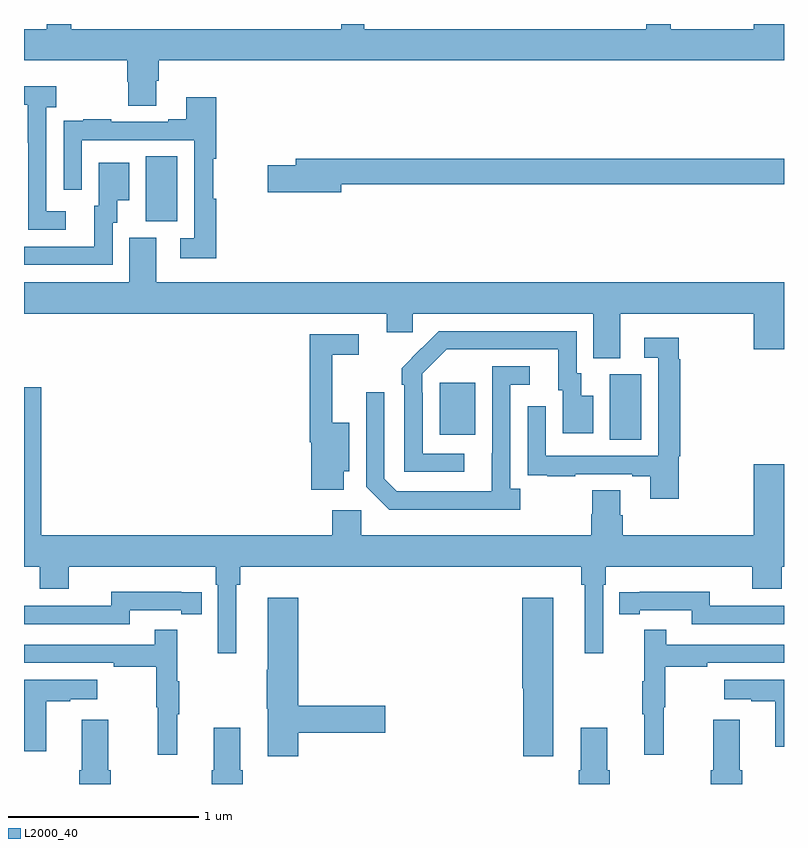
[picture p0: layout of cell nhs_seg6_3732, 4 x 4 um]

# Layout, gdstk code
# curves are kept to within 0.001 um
import gdstk
lib = gdstk.Library(unit=1e-6, precision=1e-09)
def R(c, l, rs):  # rectangles x0, y0, x1, y1
    for r in rs: c.add(gdstk.rectangle(r[:2], r[2:], *l))
def P(c, l, *ps):  # polygons
    for p in ps: c.add(gdstk.Polygon(p, *l))
L2000_40 = (2000, 40)

nhs_seg6_3732 = lib.new_cell('nhs_seg6_3732')
R(nhs_seg6_3732, L2000_40, [(332.084,973.312,332.248,973.656), (331.187,973.337,331.375,973.612), (329.642,974.461,329.806,974.804)])
P(nhs_seg6_3732, L2000_40, [(333,975.5),(332.84,975.5),(332.84,975.472),(332.404,975.472),(332.404,975.5),(332.275,975.5),(332.275,975.472),(330.79,975.472),(330.79,975.5),(330.669,975.5),(330.669,975.472),(329.249,975.472),(329.249,975.5),(329.12,975.5),(329.12,975.472),(329,975.472),(329,975.308),(329.543,975.308),(329.543,975.195),(329.548,975.195),(329.548,975.07),(329.695,975.07),(329.695,975.202),(329.708,975.202),(329.708,975.308),(333,975.308)],
  [(329.221,974.514),(329.118,974.514),(329.118,975.062),(329.17,975.062),(329.17,975.172),(329,975.172),(329,975.075),(329.021,975.075),(329.021,974.875),(329.022,974.875),(329.022,974.418),(329.221,974.418)],
  [(330.011,974.58),(329.996,974.58),(329.996,974.792),(330.011,974.792),(330.011,975.115),(329.855,975.115),(329.855,974.998),(329.759,974.998),(329.759,974.985),(329.459,974.985),(329.459,974.998),(329.311,974.998),(329.311,974.991),(329.209,974.991),(329.209,974.882),(329.208,974.882),(329.208,974.628),(329.304,974.628),(329.304,974.889),(329.895,974.889),(329.895,974.373),(329.823,974.373),(329.823,974.268),(330.011,974.268)],
  [(330.67,974.656),(333,974.656),(333,974.792),(330.431,974.792),(330.431,974.756),(330.282,974.756),(330.282,974.614),(330.67,974.614)],
  [(329.466,974.454),(329.491,974.454),(329.491,974.573),(329.554,974.573),(329.554,974.77),(329.393,974.77),(329.393,974.544),(329.369,974.544),(329.369,974.328),(329,974.328),(329,974.232),(329.466,974.232)],
  [(332.137,973.976),(332.84,973.976),(332.84,973.788),(333,973.788),(333,974.14),(329.695,974.14),(329.695,974.376),(329.555,974.376),(329.555,974.14),(329,974.14),(329,973.976),(330.908,973.976),(330.908,973.878),(331.047,973.878),(331.047,973.976),(331.997,973.976),(331.997,973.741),(332.137,973.741)],
  [(331.318,973.239),(331.098,973.239),(331.098,973.559),(331.095,973.559),(331.095,973.659),(331.224,973.788),(331.811,973.788),(331.811,973.572),(331.835,973.572),(331.835,973.347),(331.996,973.347),(331.996,973.543),(331.933,973.543),(331.933,973.662),(331.908,973.662),(331.908,973.884),(331.184,973.884),(330.987,973.689),(330.987,973.601),(331.002,973.601),(331.002,973.143),(331.318,973.143)],
  [(330.682,973.145),(330.712,973.145),(330.712,973.402),(330.623,973.402),(330.623,973.758),(330.763,973.758),(330.763,973.866),(330.505,973.866),(330.505,973.298),(330.512,973.298),(330.512,973.05),(330.682,973.05)],
  [(332.446,973.224),(332.453,973.224),(332.453,973.736),(332.446,973.736),(332.446,973.849),(332.265,973.849),(332.265,973.743),(332.337,973.743),(332.337,973.227),(331.746,973.227),(331.746,973.489),(331.65,973.489),(331.65,973.234),(331.651,973.234),(331.651,973.125),(331.753,973.125),(331.753,973.119),(331.901,973.119),(331.901,973.131),(332.201,973.131),(332.201,973.119),(332.297,973.119),(332.297,973.002),(332.446,973.002)],
  [(331.612,973.054),(331.56,973.054),(331.56,973.602),(331.663,973.602),(331.663,973.698),(331.464,973.698),(331.463,973.041),(330.963,973.041),(330.897,973.107),(330.897,973.561),(330.801,973.561),(330.801,973.065),(330.922,972.944),(331.612,972.944)],
  [(330.118,972.548),(330.137,972.548),(330.137,972.644),(331.933,972.644),(331.933,972.548),(331.952,972.548),(331.952,972.189),(332.049,972.189),(332.049,972.548),(332.063,972.548),(332.063,972.644),(332.834,972.644),(332.834,972.527),(332.987,972.527),(332.987,972.644),(333,972.644),(333,973.183),(332.84,973.183),(332.84,972.808),(332.15,972.808),(332.15,972.914),(332.137,972.914),(332.137,973.046),(331.99,973.046),(331.99,972.921),(331.985,972.921),(331.985,972.808),(330.774,972.808),(330.774,972.94),(330.623,972.94),(330.623,972.808),(329.09,972.808),(329.09,973.588),(329,973.588),(329,972.644),(329.084,972.644),(329.084,972.527),(329.236,972.527),(329.236,972.644),(330.008,972.644),(330.008,972.548),(330.021,972.548),(330.021,972.189),(330.118,972.189)],
  [(329.556,972.414),(329.828,972.414),(329.828,972.394),(329.936,972.394),(329.936,972.51),(329.828,972.51),(329.828,972.511),(329.46,972.511),(329.46,972.438),(329,972.438),(329,972.342),(329.556,972.342)],
  [(333,972.438),(332.61,972.438),(332.61,972.511),(332.242,972.511),(332.242,972.51),(332.134,972.51),(332.134,972.394),(332.242,972.394),(332.242,972.414),(332.514,972.414),(332.514,972.342),(333,972.342)],
  [(331.786,972.481),(331.622,972.481),(331.622,972.003),(331.628,972.003),(331.628,971.646),(331.786,971.646)],
  [(330.443,971.77),(330.901,971.77),(330.901,971.912),(330.443,971.912),(330.443,972.481),(330.284,972.481),(330.284,972.101),(330.277,972.101),(330.277,971.895),(330.284,971.895),(330.284,971.646),(330.443,971.646)],
  [(332.366,971.904),(332.374,971.904),(332.374,972.118),(332.597,972.118),(332.597,972.138),(333,972.138),(333,972.234),(332.381,972.234),(332.381,972.313),(332.264,972.313),(332.264,972.041),(332.253,972.041),(332.253,971.867),(332.264,971.867),(332.264,971.655),(332.366,971.655)],
  [(329.807,971.867),(329.818,971.867),(329.818,972.041),(329.807,972.041),(329.807,972.313),(329.689,972.313),(329.689,972.234),(329,972.234),(329,972.138),(329.473,972.138),(329.473,972.118),(329.697,972.118),(329.697,971.904),(329.704,971.904),(329.704,971.655),(329.807,971.655)],
  [(329.116,971.935),(329.243,971.935),(329.243,971.945),(329.386,971.945),(329.386,972.049),(329,972.049),(329,971.673),(329.116,971.673)],
  [(333,972.049),(332.685,972.049),(332.685,971.945),(332.828,971.945),(332.828,971.935),(332.954,971.935),(332.954,971.697),(333,971.697)],
  [(332.78,971.572),(332.767,971.572),(332.767,971.839),(332.627,971.839),(332.627,971.572),(332.615,971.572),(332.615,971.5),(332.78,971.5)],
  [(329.456,971.572),(329.443,971.572),(329.443,971.839),(329.303,971.839),(329.303,971.572),(329.291,971.572),(329.291,971.5),(329.456,971.5)],
  [(332.084,971.572),(332.071,971.572),(332.071,971.797),(331.931,971.797),(331.931,971.572),(331.919,971.572),(331.919,971.5),(332.084,971.5)],
  [(330.152,971.572),(330.139,971.572),(330.139,971.797),(329.999,971.797),(329.999,971.572),(329.987,971.572),(329.987,971.5),(330.152,971.5)])

lib.write_gds('nhs_seg6_3732.gds')
